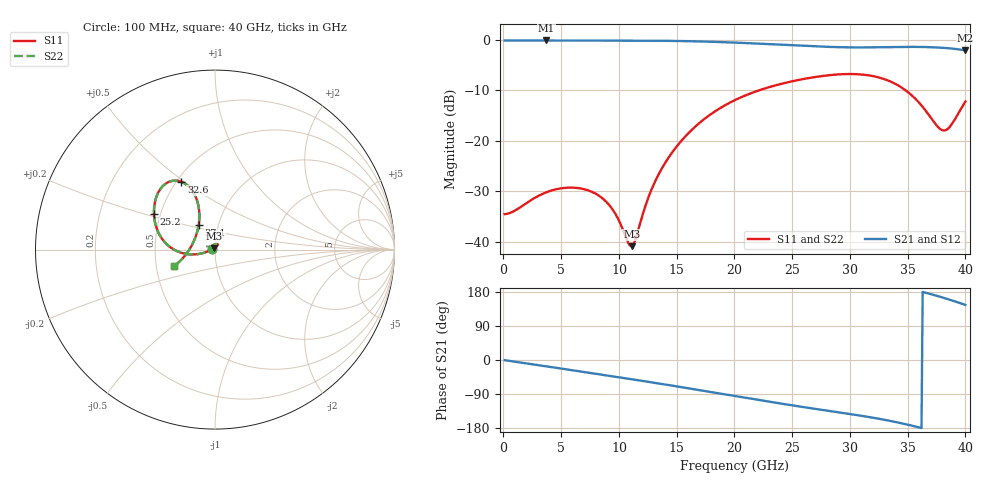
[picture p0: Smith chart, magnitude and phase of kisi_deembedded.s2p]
! C_s8_mixed: kisi-fdtd, de-embedded with the 2×thru
# Hz S RI R 50
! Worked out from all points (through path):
!   400 points, 100 MHz to 40 GHz, reference 50 ohm
!   highest |S21| = -0.12 dB at 3.7 GHz (marker M1); lowest = -2.1 dB at 40 GHz (marker M2)
!   group delay of S21, straight-line fit = 14 ps
!   lowest |S11| = -40.8 dB at 11.1 GHz (marker M3), VSWR 1.02, Z = 49.5 + j0.728 ohm
!   |S11| at or under -10 dB: start of sweep to 22.12 GHz; 34.83 GHz to end of sweep
!   |S22| runs from -40.8 to -6.8 dB; largest |S21 - S12| = 3.1e-07
!   S11 on the Smith chart (normalised r, x): 100 MHz: 0.96, +0.00; 25.2 GHz: 0.46, +0.22; 32.6 GHz: 0.53, +0.49; 37.1 GHz: 0.80, +0.23; 40 GHz: 0.62, -0.12
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1e8  -0.0188 0.00123  0.9849 -0.00767  0.9849 -0.00767  -0.0188 0.00123
3.7e9  0.00211 0.0309  0.9447 -0.2827  0.9447 -0.2827  0.00211 0.0309
6.8e9  0.0159 0.0296  0.845 -0.5046  0.845 -0.5046  0.0159 0.0296
8.1e9  0.0151 0.0253  0.7873 -0.5889  0.7873 -0.5889  0.0151 0.0253
9.1e9  0.0115 0.0206  0.7371 -0.6498  0.7371 -0.6498  0.0115 0.0206
1.11e10  -0.00533 0.00735  0.6217 -0.7601  0.6217 -0.7601  -0.00533 0.00735
1.14e10  -0.00912 0.00496  0.6026 -0.7751  0.6026 -0.7751  -0.00912 0.00496
1.26e10  -0.028 -0.00521  0.5217 -0.8304  0.5217 -0.8304  -0.028 -0.00521
1.34e10  -0.0442 -0.0121  0.4639 -0.8625  0.4639 -0.8625  -0.0442 -0.0121
1.47e10  -0.0765 -0.0217  0.364 -0.9054  0.364 -0.9054  -0.0765 -0.0217
1.62e10  -0.1222 -0.027  0.2414 -0.9387  0.2414 -0.9387  -0.1222 -0.027
2.01e10  -0.2545 0.0176  -0.0876 -0.9346  -0.0876 -0.9346  -0.2545 0.0176
2.52e10  -0.3399 0.198  -0.4491 -0.7584  -0.4491 -0.7584  -0.3399 0.198
2.67e10  -0.3358 0.2582  -0.5283 -0.685  -0.5283 -0.685  -0.3358 0.2582
3.01e10  -0.2759 0.3667  -0.6727 -0.5066  -0.6727 -0.5066  -0.2759 0.3667
3.26e10  -0.1873 0.3774  -0.7693 -0.3501  -0.7693 -0.3501  -0.1873 0.3774
3.34e10  -0.1561 0.3591  -0.7979 -0.2878  -0.7979 -0.2878  -0.1561 0.3591
3.53e10  -0.0985 0.2686  -0.8456 -0.107  -0.8456 -0.107  -0.0985 0.2686
3.71e10  -0.091 0.1364  -0.8386 0.1024  -0.8386 0.1024  -0.091 0.1364
3.78e10  -0.1053 0.0791  -0.8157 0.1895  -0.8157 0.1895  -0.1053 0.0791
3.83e10  -0.1222 0.0377  -0.791 0.2519  -0.791 0.2519  -0.1222 0.0377
4e10  -0.2279 -0.0921  -0.6469 0.4475  -0.6469 0.4475  -0.2279 -0.0921
